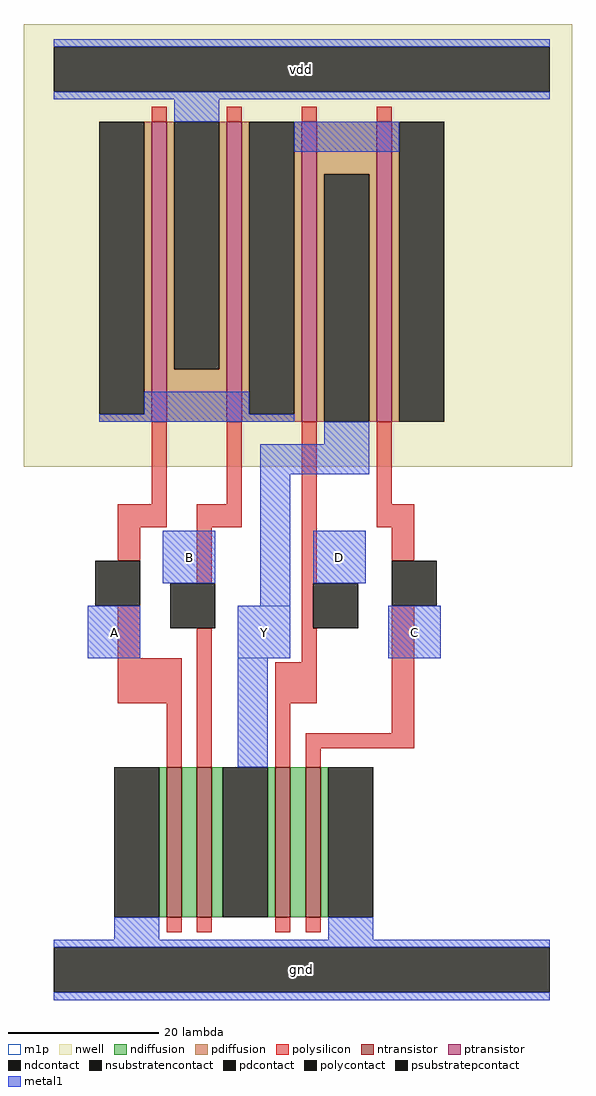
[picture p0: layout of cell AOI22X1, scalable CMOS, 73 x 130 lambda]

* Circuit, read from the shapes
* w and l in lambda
.subckt AOI22X1 A B C D Y vdd gnd
M1 n1 A gnd gnd nfet w=20 l=2
M2 Y B n1 gnd nfet w=20 l=2
M3 n2 D Y gnd nfet w=20 l=2
M4 gnd C n2 gnd nfet w=20 l=2
M5 vdd A n3 vdd pfet w=40 l=2
M6 n3 B vdd vdd pfet w=40 l=2
M7 Y D n3 vdd pfet w=40 l=2
M8 n3 C Y vdd pfet w=40 l=2
.ends

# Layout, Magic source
magic
tech scmos
magscale 1 2
<< nwell >>
rect -14 134 132 252
<< ntransistor >>
rect 24 14 28 54
rect 32 14 36 54
rect 53 14 57 54
rect 61 14 65 54
<< ptransistor >>
rect 20 146 24 226
rect 40 146 44 226
rect 60 146 64 226
rect 80 146 84 226
<< ndiffusion >>
rect 22 14 24 54
rect 28 14 32 54
rect 36 14 39 54
rect 51 14 53 54
rect 57 14 61 54
rect 65 14 67 54
<< pdiffusion >>
rect 18 148 20 226
rect 6 146 20 148
rect 24 160 26 226
rect 38 160 40 226
rect 24 146 40 160
rect 44 148 46 226
rect 58 148 60 226
rect 44 146 60 148
rect 64 212 80 226
rect 64 146 66 212
rect 78 146 80 212
rect 84 146 86 226
<< ndcontact >>
rect 10 14 22 54
rect 39 14 51 54
rect 67 14 79 54
<< pdcontact >>
rect 6 148 18 226
rect 26 160 38 226
rect 46 148 58 226
rect 66 146 78 212
rect 86 146 98 226
<< psubstratepcontact >>
rect -6 -6 126 6
<< nsubstratencontact >>
rect -6 234 126 246
<< polysilicon >>
rect 20 226 24 230
rect 40 226 44 230
rect 60 226 64 230
rect 80 226 84 230
rect 20 124 24 146
rect 40 124 44 146
rect 11 118 24 124
rect 32 118 44 124
rect 11 109 17 118
rect 32 103 36 118
rect 60 103 64 146
rect 80 124 84 146
rect 80 118 90 124
rect 84 109 90 118
rect 11 83 17 97
rect 60 91 63 103
rect 11 71 28 83
rect 24 54 28 71
rect 32 54 36 91
rect 60 82 64 91
rect 53 71 64 82
rect 53 54 57 71
rect 84 63 90 97
rect 61 59 90 63
rect 61 54 65 59
rect 24 10 28 14
rect 32 10 36 14
rect 53 10 57 14
rect 61 10 65 14
<< polycontact >>
rect 5 97 17 109
rect 25 91 37 103
rect 63 91 75 103
rect 84 97 96 109
<< metal1 >>
rect -6 246 126 248
rect -6 232 126 234
rect 26 226 38 232
rect 18 148 46 154
rect 58 218 86 226
rect 6 146 58 148
rect 66 140 78 146
rect 49 132 78 140
rect 23 103 37 117
rect 3 83 17 97
rect 49 97 57 132
rect 43 83 57 97
rect 63 103 77 117
rect 83 83 97 97
rect 43 54 51 83
rect 10 8 22 14
rect 67 8 79 14
rect -6 6 126 8
rect -6 -8 126 -6
<< m1p >>
rect 23 103 37 117
rect 63 103 77 117
rect 3 83 17 97
rect 43 83 57 97
rect 83 83 97 97
<< labels >>
rlabel metal1 -6 -8 126 8 0 gnd
port 6 nsew ground bidirectional abutment
rlabel metal1 3 83 17 97 0 A
port 0 nsew signal input
rlabel metal1 43 83 57 97 0 Y
port 4 nsew signal output
rlabel metal1 83 83 97 97 0 C
port 2 nsew signal input
rlabel metal1 23 103 37 117 0 B
port 1 nsew signal input
rlabel metal1 63 103 77 117 0 D
port 3 nsew signal input
rlabel metal1 -6 232 126 248 0 vdd
port 5 nsew power bidirectional abutment
<< properties >>
string FIXED_BBOX 0 0 120 240
string LEFclass CORE
string LEFsite core
string LEFsymmetry X Y
<< end >>
